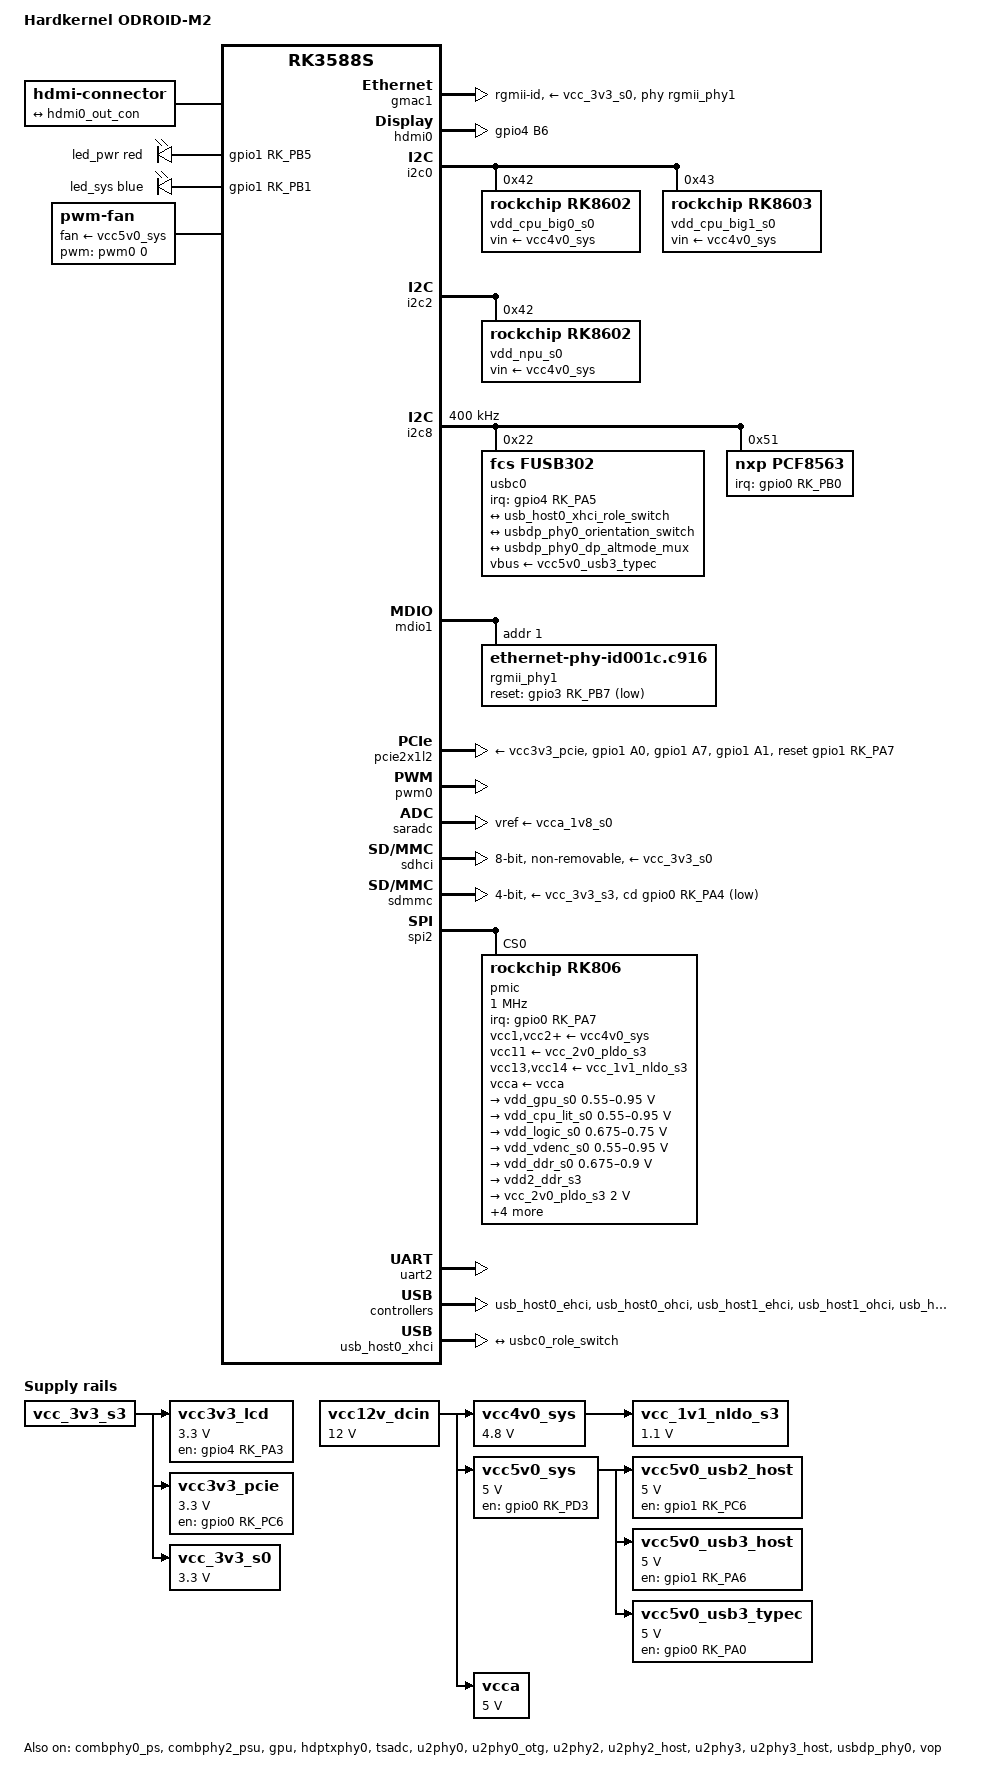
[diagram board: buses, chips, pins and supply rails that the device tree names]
// SPDX-License-Identifier: (GPL-2.0+ OR MIT)

/dts-v1/;

#include <dt-bindings/gpio/gpio.h>
#include <dt-bindings/leds/common.h>
#include <dt-bindings/pinctrl/rockchip.h>
#include <dt-bindings/soc/rockchip,vop2.h>
#include <dt-bindings/usb/pd.h>
#include "rk3588s.dtsi"

/ {
	model = "Hardkernel ODROID-M2";
	compatible = "hardkernel,odroid-m2", "rockchip,rk3588s";

	aliases {
		ethernet0 = &gmac1;
		i2c0 = &i2c5;
		i2c1 = &i2c6;
		i2c2 = &i2c1;
		i2c5 = &i2c0;
		i2c6 = &i2c2;
		mmc0 = &sdhci;
		mmc1 = &sdmmc;
		serial0 = &uart7;
		serial1 = &uart9;
		serial2 = &uart4;
		serial3 = &uart8;
		serial4 = &uart1;
		serial5 = &uart5;
		serial7 = &uart2;
		serial8 = &uart0;
		serial9 = &uart3;
		spi1 = &spi3;
		spi3 = &spi1;
	};

	backlight: backlight {
		status = "disabled";
		compatible = "pwm-backlight";

		pwms = <&pwm14 0 25000 0>;
		brightness-levels = <
			  0  20  20  21  21  22  22  23
			 23  24  24  25  25  26  26  27
			 27  28  28  29  29  30  30  31
			 31  32  32  33  33  34  34  35
			 35  36  36  37  37  38  38  39
			 40  41  42  43  44  45  46  47
			 48  49  50  51  52  53  54  55
			 56  57  58  59  60  61  62  63
			 64  65  66  67  68  69  70  71
			 72  73  74  75  76  77  78  79
			 80  81  82  83  84  85  86  87
			 88  89  90  91  92  93  94  95
			 96  97  98  99 100 101 102 103
			104 105 106 107 108 109 110 111
			112 113 114 115 116 117 118 119
			120 121 122 123 124 125 126 127
			128 129 130 131 132 133 134 135
			136 137 138 139 140 141 142 143
			144 145 146 147 148 149 150 151
			152 153 154 155 156 157 158 159
			160 161 162 163 164 165 166 167
			168 169 170 171 172 173 174 175
			176 177 178 179 180 181 182 183
			184 185 186 187 188 189 190 191
			192 193 194 195 196 197 198 199
			200 201 202 203 204 205 206 207
			208 209 210 211 212 213 214 215
			216 217 218 219 220 221 222 223
			224 225 226 227 228 229 230 231
			232 233 234 235 236 237 238 239
			240 241 242 243 244 245 246 247
			248 249 250 251 252 253 254 255
		>;
		default-brightness-level = <100>;
	};

	chosen {
		stdout-path = "serial2:1500000n8";
	};

	hdmi-con {
		compatible = "hdmi-connector";
		type = "a";

		port {
			hdmi_con_in: endpoint {
				remote-endpoint = <&hdmi0_out_con>;
			};
		};
	};

	leds {
		compatible = "gpio-leds";
		pinctrl-names = "default";
		pinctrl-0 = <&pwr_led>, <&sys_led>;

		led_pwr: led-0 {
			color = <LED_COLOR_ID_RED>;
			default-state = "on";
			function = LED_FUNCTION_POWER;
			gpios = <&gpio1 RK_PB5 GPIO_ACTIVE_HIGH>;
			linux,default-trigger = "default-on";
		};

		led_sys: led-1 {
			color = <LED_COLOR_ID_BLUE>;
			default-state = "on";
			function = LED_FUNCTION_HEARTBEAT;
			gpios = <&gpio1 RK_PB1 GPIO_ACTIVE_HIGH>;
			linux,default-trigger = "heartbeat";
		};
	};

	fan: pwm-fan {
		compatible = "pwm-fan";
		#cooling-cells = <2>;
		cooling-levels = <0 192 224 255>;
		fan-supply = <&vcc5v0_sys>;
		pwms = <&pwm0 0 22222 0>;
	};

	spdif_dit: spdif-dit {
		compatible = "linux,spdif-dit";
		status = "disabled";
		#sound-dai-cells = <0>;
	};

	spdif_sound: spdif-sound {
		compatible = "simple-audio-card";
		status = "disabled";
		simple-audio-card,name = "SPDIF";

		simple-audio-card,cpu {
			sound-dai = <&spdif_tx0>;
		};

		simple-audio-card,codec {
			sound-dai = <&spdif_dit>;
		};
	};

	vcc_1v1_nldo_s3: regulator-1v1-vcc-nldo-s3 {
		compatible = "regulator-fixed";
		regulator-name = "vcc_1v1_nldo_s3";
		regulator-always-on;
		regulator-boot-on;
		regulator-min-microvolt = <1100000>;
		regulator-max-microvolt = <1100000>;
		vin-supply = <&vcc4v0_sys>;
	};

	vcc3v3_lcd: regulator-3v3-vcc-lcd {
		compatible = "regulator-fixed";
		enable-active-high;
		gpios = <&gpio4 RK_PA3 GPIO_ACTIVE_HIGH>;
		pinctrl-names = "default";
		pinctrl-0 = <&lcd_pwren>;
		regulator-name = "vcc3v3_lcd";
		regulator-min-microvolt = <3300000>;
		regulator-max-microvolt = <3300000>;
		vin-supply = <&vcc_3v3_s3>;
	};

	vcc3v3_pcie: regulator-3v3-vcc-pcie {
		compatible = "regulator-fixed";
		enable-active-high;
		gpios = <&gpio0 RK_PC6 GPIO_ACTIVE_HIGH>;
		pinctrl-names = "default";
		pinctrl-0 = <&pcie_pwren>;
		regulator-name = "vcc3v3_pcie";
		regulator-min-microvolt = <3300000>;
		regulator-max-microvolt = <3300000>;
		vin-supply = <&vcc_3v3_s3>;
	};

	vcc_3v3_s0: regulator-3v3-vcc-s0 {
		compatible = "regulator-fixed";
		regulator-name = "vcc_3v3_s0";
		regulator-always-on;
		regulator-boot-on;
		regulator-min-microvolt = <3300000>;
		regulator-max-microvolt = <3300000>;
		vin-supply = <&vcc_3v3_s3>;
	};

	vcc4v0_sys: regulator-4v0-vcc-sys {
		compatible = "regulator-fixed";
		regulator-name = "vcc4v0_sys";
		regulator-always-on;
		regulator-boot-on;
		regulator-min-microvolt = <4800000>;
		regulator-max-microvolt = <4800000>;
		vin-supply = <&vcc12v_dcin>;
	};

	vcc5v0_sys: regulator-5v0-vcc-sys {
		compatible = "regulator-fixed";
		enable-active-high;
		gpios = <&gpio0 RK_PD3 GPIO_ACTIVE_HIGH>;
		pinctrl-names = "default";
		pinctrl-0 = <&vcc5v0_pwren>;
		regulator-name = "vcc5v0_sys";
		regulator-always-on;
		regulator-boot-on;
		regulator-min-microvolt = <5000000>;
		regulator-max-microvolt = <5000000>;
		vin-supply = <&vcc12v_dcin>;
	};

	vcc5v0_usb2_host: regulator-5v0-vcc-usb2-host {
		compatible = "regulator-fixed";
		enable-active-high;
		gpios = <&gpio1 RK_PC6 GPIO_ACTIVE_HIGH>;
		pinctrl-names = "default";
		pinctrl-0 = <&usb2_host_pwren>;
		regulator-name = "vcc5v0_usb2_host";
		regulator-min-microvolt = <5000000>;
		regulator-max-microvolt = <5000000>;
		vin-supply = <&vcc5v0_sys>;
	};

	vcc5v0_usb3_host: regulator-5v0-vcc-usb3-host {
		compatible = "regulator-fixed";
		enable-active-high;
		gpios = <&gpio1 RK_PA6 GPIO_ACTIVE_HIGH>;
		pinctrl-names = "default";
		pinctrl-0 = <&usb3_host_pwren>;
		regulator-name = "vcc5v0_usb3_host";
		regulator-min-microvolt = <5000000>;
		regulator-max-microvolt = <5000000>;
		vin-supply = <&vcc5v0_sys>;
	};

	vcc5v0_usb3_typec: regulator-5v0-vcc-usb3-typec {
		compatible = "regulator-fixed";
		enable-active-high;
		gpios = <&gpio0 RK_PA0 GPIO_ACTIVE_HIGH>;
		pinctrl-names = "default";
		pinctrl-0 = <&usb3_typec_pwren>;
		regulator-name = "vcc5v0_usb3_typec";
		regulator-min-microvolt = <5000000>;
		regulator-max-microvolt = <5000000>;
		vin-supply = <&vcc5v0_sys>;
	};

	vcca: regulator-5v0-vcca {
		compatible = "regulator-fixed";
		regulator-name = "vcca";
		regulator-always-on;
		regulator-boot-on;
		regulator-min-microvolt = <5000000>;
		regulator-max-microvolt = <5000000>;
		vin-supply = <&vcc12v_dcin>;
	};

	vcc12v_dcin: regulator-12v0-vcc-dcin {
		compatible = "regulator-fixed";
		regulator-name = "vcc12v_dcin";
		regulator-always-on;
		regulator-boot-on;
		regulator-min-microvolt = <12000000>;
		regulator-max-microvolt = <12000000>;
	};
};

&combphy0_ps {
	status = "okay";
};

&combphy2_psu {
	status = "okay";
};

&cpu_b0 {
	cpu-supply = <&vdd_cpu_big0_s0>;
};

&cpu_b1 {
	cpu-supply = <&vdd_cpu_big0_s0>;
};

&cpu_b2 {
	cpu-supply = <&vdd_cpu_big1_s0>;
};

&cpu_b3 {
	cpu-supply = <&vdd_cpu_big1_s0>;
};

&cpu_l0 {
	cpu-supply = <&vdd_cpu_lit_s0>;
};

&cpu_l1 {
	cpu-supply = <&vdd_cpu_lit_s0>;
};

&cpu_l2 {
	cpu-supply = <&vdd_cpu_lit_s0>;
};

&cpu_l3 {
	cpu-supply = <&vdd_cpu_lit_s0>;
};

&dsi0 {
	#address-cells = <1>;
	#size-cells = <0>;
	status = "disabled";

	lcd: panel@0 {
		reg = <0>;
		backlight = <&backlight>;
		reset-gpios = <&gpio1 RK_PB0 GPIO_ACTIVE_LOW>;
		power-supply = <&vcc3v3_lcd>;

		pinctrl-names = "default";
		pinctrl-0 = <&lcd_rst_gpio>;

		ports {
			port@0 {
				panel_in_dsi: endpoint {
					remote-endpoint = <&dsi0_out_panel>;
				};
			};
		};
	};
};

&dsi0_in {
	dsi0_in_vp3: endpoint {
		remote-endpoint = <&vp3_out_dsi0>;
	};
};

&dsi0_out {
	dsi0_out_panel: endpoint {
		remote-endpoint = <&panel_in_dsi>;
	};
};

&gmac1 {
	clock_in_out = "input";
	phy-handle = <&rgmii_phy1>;
	phy-mode = "rgmii-id";
	phy-supply = <&vcc_3v3_s0>;
	pinctrl-names = "default";
	pinctrl-0 = <&gmac1_miim
		     &gmac1_tx_bus2
		     &gmac1_rx_bus2
		     &gmac1_rgmii_clk
		     &gmac1_rgmii_bus
		     &gmac1_clkinout>;
	status = "okay";
};

&gpio0 {
	gpio-line-names =
	/* GPIO0_A0-A3 */
			"", "", "", "",
	/* GPIO0_A4-A7 */
			"", "", "", "",

	/* GPIO0_B0-B3 */
			"", "", "", "",
	/* GPIO0_B4-B7 */
			"", "", "", "",

	/* GPIO0_C0-C3 */
			"", "", "", "",
	/* GPIO0_C4-C7 */
			"", "", "", "",

	/* GPIO0_D0-D3 */
			"PIN_7", "", "", "",
	/* GPIO0_D4-D7 */
			"PIN_22", "PIN_24", "", "";
};

&gpio1 {
	gpio-line-names =
	/* GPIO1_A0-A3 */
			"", "", "", "",
	/* GPIO1_A4-A7 */
			"", "", "", "",

	/* GPIO1_B0-B3 */
			"", "", "PIN_16", "PIN_18",
	/* GPIO1_B4-B7 */
			"PIN_26", "", "PIN_31", "PIN_29",

	/* GPIO1_C0-C3 */
			"", "", "", "",
	/* GPIO1_C4-C7 */
			"", "", "", "",

	/* GPIO1_D0-D3 */
			"", "", "", "",
	/* GPIO1_D4-D7 */
			"", "", "", "";
};

&gpio2 {
	gpio-line-names =
	/* GPIO2_A0-A3 */
			"", "", "", "",
	/* GPIO2_A4-A7 */
			"", "", "", "",

	/* GPIO2_B0-B3 */
			"", "", "", "",
	/* GPIO2_B4-B7 */
			"", "", "", "",

	/* GPIO2_C0-C3 */
			"", "", "", "",
	/* GPIO2_C4-C7 */
			"", "", "", "",

	/* GPIO2_D0-D3 */
			"", "", "", "",
	/* GPIO2_D4-D7 */
			"", "", "", "";
};

&gpio3 {
	gpio-line-names =
	/* GPIO3_A0-A3 */
			"", "", "", "",
	/* GPIO3_A4-A7 */
			"", "", "", "",

	/* GPIO3_B0-B3 */
			"", "", "PIN_12", "",
	/* GPIO3_B4-B7 */
			"", "", "", "",

	/* GPIO3_C0-C3 */
			"PIN_8", "PIN_10", "", "",
	/* GPIO3_C4-C7 */
			"EXTPIN_11", "EXTPIN_12", "EXTPIN_13", "PIN_35",

	/* GPIO3_D0-D3 */
			"PIN_33", "PIN_21", "PIN_19", "PIN_23",
	/* GPIO3_D4-D7 */
			"PIN_11", "PIN_13", "", "";
};

&gpio4 {
	gpio-line-names =
	/* GPIO4_A0-A3 */
			"", "", "", "",
	/* GPIO4_A4-A7 */
			"", "", "PIN_5", "PIN_3",

	/* GPIO4_B0-B3 */
			"PIN_27", "PIN_28", "", "PIN_15",
	/* GPIO4_B4-B7 */
			"PIN_32", "PIN_36", "", "",

	/* GPIO4_C0-C3 */
			"", "", "", "",
	/* GPIO4_C4-C7 */
			"", "", "", "",

	/* GPIO4_D0-D3 */
			"", "", "", "",
	/* GPIO4_D4-D7 */
			"", "", "", "";
};

&gpu {
	mali-supply = <&vdd_gpu_s0>;
	status = "okay";
};

&hdmi0 {
	frl-enable-gpios = <&gpio4 RK_PB6 GPIO_ACTIVE_LOW>;
	pinctrl-0 = <&hdmim0_tx0_cec &hdmim0_tx0_hpd
		     &hdmim0_tx0_scl &hdmim0_tx0_sda &hdmi0_tx_on_h>;
	pinctrl-names = "default";
	status = "okay";
};

&hdmi0_in {
	hdmi0_in_vp0: endpoint {
		remote-endpoint = <&vp0_out_hdmi0>;
	};
};

&hdmi0_out {
	hdmi0_out_con: endpoint {
		remote-endpoint = <&hdmi_con_in>;
	};
};

&hdptxphy0 {
	status = "okay";
};

&i2c0 {
	pinctrl-names = "default";
	pinctrl-0 = <&i2c0m2_xfer>;
	status = "okay";

	vdd_cpu_big0_s0: regulator@42 {
		compatible = "rockchip,rk8602";
		reg = <0x42>;
		fcs,suspend-voltage-selector = <1>;
		regulator-name = "vdd_cpu_big0_s0";
		regulator-always-on;
		regulator-boot-on;
		regulator-min-microvolt = <550000>;
		regulator-max-microvolt = <1050000>;
		regulator-ramp-delay = <2300>;
		vin-supply = <&vcc4v0_sys>;

		regulator-state-mem {
			regulator-off-in-suspend;
		};
	};

	vdd_cpu_big1_s0: regulator@43 {
		compatible = "rockchip,rk8603", "rockchip,rk8602";
		reg = <0x43>;
		fcs,suspend-voltage-selector = <1>;
		regulator-name = "vdd_cpu_big1_s0";
		regulator-always-on;
		regulator-boot-on;
		regulator-min-microvolt = <550000>;
		regulator-max-microvolt = <1050000>;
		regulator-ramp-delay = <2300>;
		vin-supply = <&vcc4v0_sys>;

		regulator-state-mem {
			regulator-off-in-suspend;
		};
	};
};

&i2c1 {
	pinctrl-0 = <&i2c1m2_xfer>;
	status = "disabled";
};

&i2c2 {
	status = "okay";

	vdd_npu_s0: regulator@42 {
		compatible = "rockchip,rk8602";
		reg = <0x42>;
		fcs,suspend-voltage-selector = <1>;
		regulator-name = "vdd_npu_s0";
		regulator-always-on;
		regulator-boot-on;
		regulator-min-microvolt = <550000>;
		regulator-max-microvolt = <950000>;
		regulator-ramp-delay = <2300>;
		vin-supply = <&vcc4v0_sys>;

		regulator-state-mem {
			regulator-off-in-suspend;
		};
	};
};

&i2c5 {
	pinctrl-0 = <&i2c5m2_xfer>;
	status = "disabled";
};

&i2c6 {
	pinctrl-0 = <&i2c6m3_xfer>;
	status = "disabled";
};

&i2c8 {
	clock-frequency = <400000>;
	pinctrl-names = "default";
	pinctrl-0 = <&i2c8m2_xfer>;
	status = "okay";

	touchscreen: touchscreen {
		status = "disabled";

		pinctrl-names = "default";
		pinctrl-0 = <&touch_gpio>;

		AVDD28-supply = <&vcc3v3_lcd>;
		VDDIO-supply = <&vcc3v3_lcd>;

		interrupt-parent = <&gpio1>;
		interrupts = <RK_PA3 IRQ_TYPE_EDGE_FALLING>;

		irq-gpios = <&gpio1 RK_PA3 GPIO_ACTIVE_HIGH>;
		reset-gpios = <&gpio1 RK_PA4 GPIO_ACTIVE_HIGH>;

		power-supply = <&vcc3v3_lcd>;
	};

	usbc0: usb-typec@22 {
		compatible = "fcs,fusb302";
		reg = <0x22>;
		interrupt-parent = <&gpio4>;
		interrupts = <RK_PA5 IRQ_TYPE_LEVEL_LOW>;
		pinctrl-names = "default";
		pinctrl-0 = <&usbc0_int>;
		vbus-supply = <&vcc5v0_usb3_typec>;

		connector {
			compatible = "usb-c-connector";
			data-role = "dual";
			label = "USB-C";
			op-sink-microwatt = <1000000>;
			power-role = "dual";
			sink-pdos = <PDO_FIXED(5000, 1000, PDO_FIXED_USB_COMM)>;
			source-pdos = <PDO_FIXED(5000, 3000, PDO_FIXED_USB_COMM)>;
			try-power-role = "source";

			ports {
				#address-cells = <1>;
				#size-cells = <0>;

				port@0 {
					reg = <0>;

					usbc0_role_switch: endpoint {
						remote-endpoint = <&usb_host0_xhci_role_switch>;
					};
				};

				port@1 {
					reg = <1>;

					usbc0_orientation_switch: endpoint {
						remote-endpoint = <&usbdp_phy0_orientation_switch>;
					};
				};

				port@2 {
					reg = <2>;

					usbc0_dp_altmode_mux: endpoint {
						remote-endpoint = <&usbdp_phy0_dp_altmode_mux>;
					};
				};
			};
		};
	};

	pcf8563: rtc@51 {
		compatible = "nxp,pcf8563";
		reg = <0x51>;
		interrupt-parent = <&gpio0>;
		interrupts = <RK_PB0 IRQ_TYPE_LEVEL_LOW>;
		pinctrl-names = "default";
		pinctrl-0 = <&pcf8563_int>;
		wakeup-source;
	};
};

&mdio1 {
	rgmii_phy1: ethernet-phy@1 {
		compatible = "ethernet-phy-id001c.c916";
		reg = <1>;
		reset-assert-us = <20000>;
		reset-deassert-us = <100000>;
		reset-gpios = <&gpio3 RK_PB7 GPIO_ACTIVE_LOW>;
	};
};

&package_thermal {
	polling-delay = <1000>;

	trips {
		package_fan0: package-fan0 {
			hysteresis = <2000>;
			temperature = <60000>;
			type = "active";
		};
	};

	cooling-maps {
		map0 {
			cooling-device = <&fan 1 THERMAL_NO_LIMIT>;
			trip = <&package_fan0>;
		};
	};
};

&pcie2x1l2 {
	pinctrl-names = "default";
	pinctrl-0 = <&pcie20x1_pins>;
	reset-gpios = <&gpio1 RK_PA7 GPIO_ACTIVE_HIGH>;
	vpcie3v3-supply = <&vcc3v3_pcie>;
	status = "okay";
};

&pd_gpu {
	domain-supply = <&vdd_gpu_s0>;
};

&pinctrl {
	hdmi {
		hdmi0_tx_on_h: hdmi0-tx-on-h {
			rockchip,pins = <4 RK_PB6 RK_FUNC_GPIO &pcfg_pull_none>;
		};
	};

	lcd {
		lcd_pwren: lcd-pwren {
			rockchip,pins = <4 RK_PA3 RK_FUNC_GPIO &pcfg_pull_none>;
		};

		lcd_rst_gpio: lcd-rst-gpio {
			rockchip,pins = <1 RK_PB0 RK_FUNC_GPIO &pcfg_pull_none>;
		};
	};

	leds {
		pwr_led: pwr-led {
			rockchip,pins = <1 RK_PB5 RK_FUNC_GPIO &pcfg_pull_none>;
		};

		sys_led: sys-led {
			rockchip,pins = <1 RK_PB1 RK_FUNC_GPIO &pcfg_pull_none>;
		};
	};

	pcie {
		pcie20x1_pins: pcie20x1-pins {
			rockchip,pins =
				<1 RK_PA0 4 &pcfg_pull_none>,
				<1 RK_PA7 RK_FUNC_GPIO &pcfg_pull_none>,
				<1 RK_PA1 4 &pcfg_pull_none>;
		};

		pcie_pwren: pcie-pwren {
			rockchip,pins = <0 RK_PC6 RK_FUNC_GPIO &pcfg_pull_none>;
		};
	};

	regulator {
		vcc5v0_pwren: vcc5v0-pwren {
			rockchip,pins = <0 RK_PD3 RK_FUNC_GPIO &pcfg_pull_none>;
		};
	};

	rtc {
		pcf8563_int: pcf8563-int {
			rockchip,pins = <0 RK_PB0 RK_FUNC_GPIO &pcfg_pull_none>;
		};
	};

	touch {
		touch_gpio: touch-gpio {
			rockchip,pins =
				<1 RK_PA3 RK_FUNC_GPIO &pcfg_pull_none>,
				<1 RK_PA4 RK_FUNC_GPIO &pcfg_pull_none>;
		};
	};

	usb {
		usb2_host_pwren: usb2-host-pwren {
			rockchip,pins = <1 RK_PC6 RK_FUNC_GPIO &pcfg_pull_none>;
		};

		usb3_host_pwren: usb3-host-pwren {
			rockchip,pins = <1 RK_PA6 RK_FUNC_GPIO &pcfg_pull_none>;
		};

		usb3_typec_pwren: usb3-typec-pwren {
			rockchip,pins = <0 RK_PA0 RK_FUNC_GPIO &pcfg_pull_none>;
		};

		usbc0_int: usbc0-int {
			rockchip,pins = <4 RK_PA5 RK_FUNC_GPIO &pcfg_pull_none>;
		};
	};
};

&pwm0 {
	pinctrl-names = "default";
	pinctrl-0 = <&pwm0m2_pins>;
	status = "okay";
};

&pwm3 {
	pinctrl-0 = <&pwm3m1_pins>;
	status = "disabled";
};

&pwm7 {
	pinctrl-0 = <&pwm7m0_pins>;
	status = "disabled";
};

&pwm8 {
	pinctrl-0 = <&pwm8m2_pins>;
	status = "disabled";
};

&pwm9 {
	pinctrl-0 = <&pwm9m2_pins>;
	status = "disabled";
};

&pwm10 {
	pinctrl-0 = <&pwm10m2_pins>;
	status = "disabled";
};

&pwm11 {
	pinctrl-0 = <&pwm11m3_pins>;
	status = "disabled";
};

&pwm12 {
	pinctrl-0 = <&pwm12m1_pins>;
	status = "disabled";
};

&pwm13 {
	pinctrl-0 = <&pwm13m2_pins>;
	status = "disabled";
};

&pwm14{
	pinctrl-0 = <&pwm14m1_pins>;
	status = "disabled";
};

&pwm15 {
	pinctrl-0 = <&pwm15m1_pins>;
	status = "disabled";
};

&saradc {
	vref-supply = <&vcca_1v8_s0>;
	status = "okay";
};

&sdhci {
	bus-width = <8>;
	mmc-hs400-1_8v;
	mmc-hs400-enhanced-strobe;
	no-sd;
	no-sdio;
	non-removable;
	vmmc-supply = <&vcc_3v3_s0>;
	vqmmc-supply = <&vcc_1v8_s0>;
	status = "okay";
};

&sdmmc {
	bus-width = <4>;
	cap-sd-highspeed;
	cd-gpios = <&gpio0 RK_PA4 GPIO_ACTIVE_LOW>;
	disable-wp;
	max-frequency = <150000000>;
	no-mmc;
	no-sdio;
	sd-uhs-sdr104;
	vmmc-supply = <&vcc_3v3_s3>;
	vqmmc-supply = <&vccio_sd_s0>;
	status = "okay";
};

&spi0 {
	pinctrl-0 = <&spi0m3_pins>;
	num-cs = <1>;
	cs-gpios = <&gpio0 RK_PD5 GPIO_ACTIVE_LOW>;
	status = "disabled";
};

&spi2 {
	assigned-clocks = <&cru CLK_SPI2>;
	assigned-clock-rates = <200000000>;
	num-cs = <1>;
	pinctrl-names = "default";
	pinctrl-0 = <&spi2m2_cs0>, <&spi2m2_pins>;
	status = "okay";

	pmic@0 {
		compatible = "rockchip,rk806";
		reg = <0x0>;
		#gpio-cells = <2>;
		gpio-controller;
		interrupt-parent = <&gpio0>;
		interrupts = <RK_PA7 IRQ_TYPE_LEVEL_LOW>;
		pinctrl-names = "default";
		pinctrl-0 = <&pmic_pins>, <&rk806_dvs1_null>,
			    <&rk806_dvs2_null>, <&rk806_dvs3_null>;
		spi-max-frequency = <1000000>;
		system-power-controller;

		vcc1-supply = <&vcc4v0_sys>;
		vcc2-supply = <&vcc4v0_sys>;
		vcc3-supply = <&vcc4v0_sys>;
		vcc4-supply = <&vcc4v0_sys>;
		vcc5-supply = <&vcc4v0_sys>;
		vcc6-supply = <&vcc4v0_sys>;
		vcc7-supply = <&vcc4v0_sys>;
		vcc8-supply = <&vcc4v0_sys>;
		vcc9-supply = <&vcc4v0_sys>;
		vcc10-supply = <&vcc4v0_sys>;
		vcc11-supply = <&vcc_2v0_pldo_s3>;
		vcc12-supply = <&vcc4v0_sys>;
		vcc13-supply = <&vcc_1v1_nldo_s3>;
		vcc14-supply = <&vcc_1v1_nldo_s3>;
		vcca-supply = <&vcca>;

		rk806_dvs1_null: dvs1-null-pins {
			pins = "gpio_pwrctrl1";
			function = "pin_fun0";
		};

		rk806_dvs2_null: dvs2-null-pins {
			pins = "gpio_pwrctrl2";
			function = "pin_fun0";
		};

		rk806_dvs3_null: dvs3-null-pins {
			pins = "gpio_pwrctrl3";
			function = "pin_fun0";
		};

		regulators {
			vdd_gpu_s0: dcdc-reg1 {
				regulator-name = "vdd_gpu_s0";
				regulator-boot-on;
				regulator-min-microvolt = <550000>;
				regulator-max-microvolt = <950000>;
				regulator-ramp-delay = <12500>;
				regulator-enable-ramp-delay = <400>;

				regulator-state-mem {
					regulator-off-in-suspend;
				};
			};

			vdd_cpu_lit_s0: dcdc-reg2 {
				regulator-name = "vdd_cpu_lit_s0";
				regulator-always-on;
				regulator-boot-on;
				regulator-min-microvolt = <550000>;
				regulator-max-microvolt = <950000>;
				regulator-ramp-delay = <12500>;

				regulator-state-mem {
					regulator-off-in-suspend;
				};
			};

			vdd_logic_s0: dcdc-reg3 {
				regulator-name = "vdd_logic_s0";
				regulator-always-on;
				regulator-boot-on;
				regulator-min-microvolt = <675000>;
				regulator-max-microvolt = <750000>;
				regulator-ramp-delay = <12500>;

				regulator-state-mem {
					regulator-off-in-suspend;
					regulator-suspend-microvolt = <750000>;
				};
			};

			vdd_vdenc_s0: dcdc-reg4 {
				regulator-name = "vdd_vdenc_s0";
				regulator-always-on;
				regulator-boot-on;
				regulator-min-microvolt = <550000>;
				regulator-max-microvolt = <950000>;
				regulator-ramp-delay = <12500>;

				regulator-state-mem {
					regulator-off-in-suspend;
				};
			};

			vdd_ddr_s0: dcdc-reg5 {
				regulator-name = "vdd_ddr_s0";
				regulator-always-on;
				regulator-boot-on;
				regulator-min-microvolt = <675000>;
				regulator-max-microvolt = <900000>;
				regulator-ramp-delay = <12500>;

				regulator-state-mem {
					regulator-off-in-suspend;
					regulator-suspend-microvolt = <850000>;
				};
			};

			vdd2_ddr_s3: dcdc-reg6 {
				regulator-name = "vdd2_ddr_s3";
				regulator-always-on;
				regulator-boot-on;

				regulator-state-mem {
					regulator-on-in-suspend;
				};
			};

			vcc_2v0_pldo_s3: dcdc-reg7 {
				regulator-name = "vdd_2v0_pldo_s3";
				regulator-always-on;
				regulator-boot-on;
				regulator-min-microvolt = <2000000>;
				regulator-max-microvolt = <2000000>;
				regulator-ramp-delay = <12500>;

				regulator-state-mem {
					regulator-on-in-suspend;
					regulator-suspend-microvolt = <2000000>;
				};
			};

			vcc_3v3_s3: dcdc-reg8 {
				regulator-name = "vcc_3v3_s3";
				regulator-always-on;
				regulator-boot-on;
				regulator-min-microvolt = <3300000>;
				regulator-max-microvolt = <3300000>;

				regulator-state-mem {
					regulator-on-in-suspend;
					regulator-suspend-microvolt = <3300000>;
				};
			};

			vddq_ddr_s0: dcdc-reg9 {
				regulator-name = "vddq_ddr_s0";
				regulator-always-on;
				regulator-boot-on;

				regulator-state-mem {
					regulator-off-in-suspend;
				};
			};

			vcc_1v8_s3: dcdc-reg10 {
				regulator-name = "vcc_1v8_s3";
				regulator-always-on;
				regulator-boot-on;
				regulator-min-microvolt = <1800000>;
				regulator-max-microvolt = <1800000>;

				regulator-state-mem {
					regulator-on-in-suspend;
					regulator-suspend-microvolt = <1800000>;
				};
			};

			vcc_1v8_s0: pldo-reg1 {
				regulator-name = "vcc_1v8_s0";
				regulator-always-on;
				regulator-boot-on;
				regulator-min-microvolt = <1800000>;
				regulator-max-microvolt = <1800000>;

				regulator-state-mem {
					regulator-off-in-suspend;
				};
			};

			vcca_1v8_s0: pldo-reg2 {
				regulator-name = "vcca_1v8_s0";
				regulator-always-on;
				regulator-boot-on;
				regulator-min-microvolt = <1800000>;
				regulator-max-microvolt = <1800000>;

				regulator-state-mem {
					regulator-off-in-suspend;
					regulator-suspend-microvolt = <1800000>;
				};
			};

			vdda_1v2_s0: pldo-reg3 {
				regulator-name = "vdda_1v2_s0";
				regulator-always-on;
				regulator-boot-on;
				regulator-min-microvolt = <1200000>;
				regulator-max-microvolt = <1200000>;

				regulator-state-mem {
					regulator-off-in-suspend;
				};
			};

			vcca_3v3_s0: pldo-reg4 {
				regulator-name = "vcca_3v3_s0";
				regulator-always-on;
				regulator-boot-on;
				regulator-min-microvolt = <3300000>;
				regulator-max-microvolt = <3300000>;
				regulator-ramp-delay = <12500>;

				regulator-state-mem {
					regulator-off-in-suspend;
				};
			};

			vccio_sd_s0: pldo-reg5 {
				regulator-name = "vccio_sd_s0";
				regulator-always-on;
				regulator-boot-on;
				regulator-min-microvolt = <1800000>;
				regulator-max-microvolt = <3300000>;
				regulator-ramp-delay = <12500>;

				regulator-state-mem {
					regulator-off-in-suspend;
				};
			};

			vcc_1v8_s3_pldo6: pldo-reg6 {
				regulator-name = "vcc_1v8_s3_pldo6";
				regulator-always-on;
				regulator-boot-on;
				regulator-min-microvolt = <1800000>;
				regulator-max-microvolt = <1800000>;

				regulator-state-mem {
					regulator-on-in-suspend;
					regulator-suspend-microvolt = <1800000>;
				};
			};

			vdd_0v75_s3: nldo-reg1 {
				regulator-name = "vdd_0v75_s3";
				regulator-always-on;
				regulator-boot-on;
				regulator-min-microvolt = <750000>;
				regulator-max-microvolt = <750000>;

				regulator-state-mem {
					regulator-on-in-suspend;
					regulator-suspend-microvolt = <750000>;
				};
			};

			vdda_ddr_pll_s0: nldo-reg2 {
				regulator-name = "vdda_ddr_pll_s0";
				regulator-always-on;
				regulator-boot-on;
				regulator-min-microvolt = <900000>;
				regulator-max-microvolt = <900000>;

				regulator-state-mem {
					regulator-off-in-suspend;
					regulator-suspend-microvolt = <850000>;
				};
			};

			vdda_0v75_s0: nldo-reg3 {
				regulator-name = "vdda_0v75_s0";
				regulator-always-on;
				regulator-boot-on;
				regulator-min-microvolt = <837500>;
				regulator-max-microvolt = <837500>;

				regulator-state-mem {
					regulator-off-in-suspend;
				};
			};

			vdda_0v85_s0: nldo-reg4 {
				regulator-name = "vdda_0v85_s0";
				regulator-always-on;
				regulator-boot-on;
				regulator-min-microvolt = <850000>;
				regulator-max-microvolt = <850000>;

				regulator-state-mem {
					regulator-off-in-suspend;
				};
			};

			/* Schematics show not in use */
			nldo-reg5 {
			};
		};
	};
};

&spdif_tx0 {
	pinctrl-names = "default";
	pinctrl-0 = <&spdif0m1_tx>;
	status = "disabled";
};

&spi3 {
	pinctrl-0 = <&spi3m3_pins>;
	num-cs = <1>;
	cs-gpios = <&gpio3 RK_PC4 GPIO_ACTIVE_LOW>;
	status = "disabled";
};

&tsadc {
	status = "okay";
};

&u2phy0 {
	status = "okay";
};

&u2phy0_otg {
	status = "okay";
};

&u2phy2 {
	status = "okay";
};

&u2phy2_host {
	phy-supply = <&vcc5v0_usb2_host>;
	status = "okay";
};

&u2phy3 {
	status = "okay";
};

&u2phy3_host {
	phy-supply = <&vcc5v0_usb3_host>;
	status = "okay";
};

&uart1 {
	dma-names = "tx", "rx";
	pinctrl-0 = <&uart1m1_xfer>;
	status = "disabled";
};

&uart2 {
	pinctrl-names = "default";
	pinctrl-0 = <&uart2m0_xfer>;
	status = "okay";
};

&uart4 {
	pinctrl-0 = <&uart4m2_xfer>;
	dma-names = "tx", "rx";
	status = "disabled";
};

&uart5 {
	dma-names = "tx", "rx";
	status = "disabled";
};

&uart7 {
	pinctrl-0 = <&uart7m1_xfer>;
	dma-names = "tx", "rx";
	status = "disabled";
};

&uart8 {
	pinctrl-0 = <&uart8m0_xfer>;
	dma-names = "tx", "rx";
	status = "disabled";
};

&uart9 {
	pinctrl-0 = <&uart9m2_xfer>;
	pinctrl-1 = <&uart9m2_xfer &uart9m2_ctsn &uart9m2_rtsn>;
	dma-names = "tx", "rx";
	status = "disabled";
};

&usb_host0_ehci {
	status = "okay";
};

&usb_host0_ohci {
	status = "okay";
};

&usb_host0_xhci {
	usb-role-switch;
	status = "okay";

	port {
		usb_host0_xhci_role_switch: endpoint {
			remote-endpoint = <&usbc0_role_switch>;
		};
	};
};

&usb_host1_ehci {
	status = "okay";
};

&usb_host1_ohci {
	status = "okay";
};

&usb_host2_xhci {
	status = "okay";
};

&usbdp_phy0 {
	mode-switch;
	orientation-switch;
	sbu1-dc-gpios = <&gpio4 RK_PA0 GPIO_ACTIVE_HIGH>;
	sbu2-dc-gpios = <&gpio4 RK_PA1 GPIO_ACTIVE_HIGH>;
	status = "okay";

	port {
		#address-cells = <1>;
		#size-cells = <0>;

		usbdp_phy0_orientation_switch: endpoint@0 {
			reg = <0>;
			remote-endpoint = <&usbc0_orientation_switch>;
		};

		usbdp_phy0_dp_altmode_mux: endpoint@1 {
			reg = <1>;
			remote-endpoint = <&usbc0_dp_altmode_mux>;
		};
	};
};

&vop {
	status = "okay";
};

&vop_mmu {
	status = "okay";
};

&vp0 {
	vp0_out_hdmi0: endpoint@ROCKCHIP_VOP2_EP_HDMI0 {
		reg = <ROCKCHIP_VOP2_EP_HDMI0>;
		remote-endpoint = <&hdmi0_in_vp0>;
	};
};

&vp3 {
	vp3_out_dsi0: endpoint@ROCKCHIP_VOP2_EP_MIPI0 {
		reg = <ROCKCHIP_VOP2_EP_MIPI0>;
		remote-endpoint = <&dsi0_in_vp3>;
	};
};
